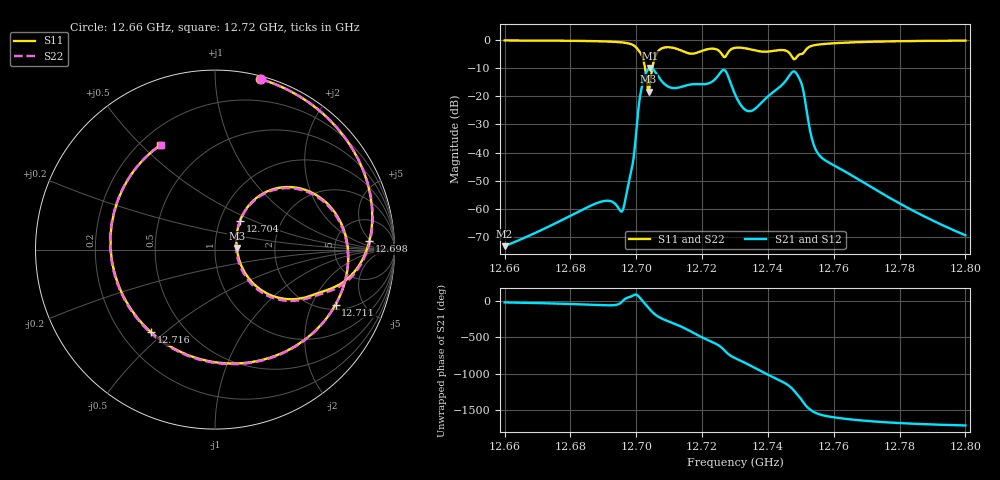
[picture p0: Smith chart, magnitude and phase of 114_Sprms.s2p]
! TOUCHSTONE file generated by CST MICROWAVE STUDIO
! Date and time: Wed Jul 31 16:31:50 2024
! Project name: WaveGuide_BPF-Ver4.1_U-shape_Ku_T3_C4_CWA_2.cst
! Parameters = {cavity_h=16; cavity_l0=10; cavity_l1=15.172; cavity_l2=16.8528; cavity_l3=17.1165; cavity_l4=17.3007; cavity_l5=17.0917; cavity_l6=17.6393; cavity_r=2.5; cavity_screw_l=0.5; cavity_screw_r=1.5; cavity_w=8; iris_h00=0; iris_h01=8.8267; iris_h112=0; iris_h12=5.5913; iris_h211=3.6659; i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
! Header version: 2018
! Port assignment regex: !\s*Touchstone port\s*([0-9]+)\s*=\s*(CST MWS port|CST DS port)\s*([0-9]+|Zmin|Zmax)\s*\(\"(.*)\"\)(\s*mode\s*([0-9]+))?.*
! Touchstone port assignment:
! Touchstone port 1 = CST MWS port 1 ("")
! Touchstone port 2 = CST MWS port 2 ("")
# GHz S RI R 50
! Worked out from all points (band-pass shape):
!   5001 points, 12.66 GHz to 12.8 GHz, reference 50 ohm
!   highest |S21| = -9.92 dB at 12.704 GHz (marker M1); lowest = -73.3 dB at 12.66 GHz (marker M2)
!   |S21| within 3 dB of the highest: 12.70258 GHz to 12.70668 GHz (4.104 MHz wide, 0.0323 % of centre); 12.7247 GHz to 12.72793 GHz (3.225 MHz wide, 0.0253 % of centre)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
!   lowest |S11| = -18.3 dB at 12.704 GHz (marker M3), VSWR 1.28, Z = 63.8 + j1.25 ohm
!   |S11| at or under -10 dB: 12.70268 GHz to 12.70487 GHz (2.183 MHz wide, 0.0172 % of centre)
!   |S22| runs from -18.6 to -0.1 dB; largest |S21 - S12| = 1e-09
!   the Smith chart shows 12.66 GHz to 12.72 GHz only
!   S11 on the Smith chart (normalised r, x): 12.66 GHz: 0.02, +1.29; 12.698 GHz: 12, +4; 12.704 GHz: 1.25, +0.42; 12.711 GHz: 2.25, -3.04; 12.716 GHz: 0.32, -0.45; 12.72 GHz: 0.28, +0.57
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12.66  0.2489 0.9515  0.000206 -6.97e-05  0.000206 -6.97e-05  0.2564 0.9494
12.68335  0.6299 0.7307  0.000659 -0.00068  0.000659 -0.00068  0.6379 0.7234
12.69553  0.8714 0.262  0.000861 -0.000233  0.000861 -0.000233  0.875 0.2471
12.69797  0.86 0.0476  0.00194 0.00279  0.00194 0.00279  0.8595 0.0307
12.70136  0.5192 -0.2619  0.1014 0.0576  0.1014 0.0576  0.5083 -0.2737
12.70374  0.1213 0.00967  -0.0322 -0.3056  -0.0322 -0.3056  0.1169 0.0113
12.70432  0.1333 0.1421  -0.1852 -0.2597  -0.1852 -0.2597  0.1332 0.143
12.70441  0.1394 0.1603  -0.203 -0.2459  -0.203 -0.2459  0.1398 0.161
12.70668  0.5534 0.3103  -0.1842 0.1311  -0.1842 0.1311  0.5581 0.3004
12.7106  0.6715 -0.3066  0.0587 0.1296  0.0587 0.1296  0.6628 -0.3228
12.71586  -0.3573 -0.4598  0.1184 -0.1073  0.1184 -0.1073  -0.371 -0.4524
12.72045  -0.3062 0.581  -0.1425 -0.0809  -0.1425 -0.0809  -0.2998 0.5851
12.7267  0.4189 0.2714  0.2068 0.2113  0.2068 0.2113  0.4152 0.2581
12.73  0.7257 0.0471  0.0435 -0.0997  0.0435 -0.0997  0.7233 0.033
12.73512  0.084 -0.6689  -0.0555 -0.00046  -0.0555 -0.00046  0.061 -0.6712
12.73935  -0.6205 0.0104  0.0156 0.0904  0.0156 0.0904  -0.6234 0.0256
12.74316  -0.031 0.6602  0.139 -0.0112  0.139 -0.0112  -0.0224 0.6611
12.74837  0.4255 0.1929  -0.2679 -0.0108  -0.2679 -0.0108  0.4152 0.1887
12.75335  0.749 -0.2492  0.00557 -0.017  0.00557 -0.017  0.7445 -0.2629
12.76172  0.0481 -0.8871  -0.0052 -0.000675  -0.0052 -0.000675  0.0306 -0.8883
12.77668  -0.7944 -0.5154  -0.000975 0.00128  -0.000975 0.00128  -0.8024 -0.5039
12.8  -0.9688 0.1213  2.35e-05 0.000338  2.35e-05 0.000338  -0.9678 0.1309
